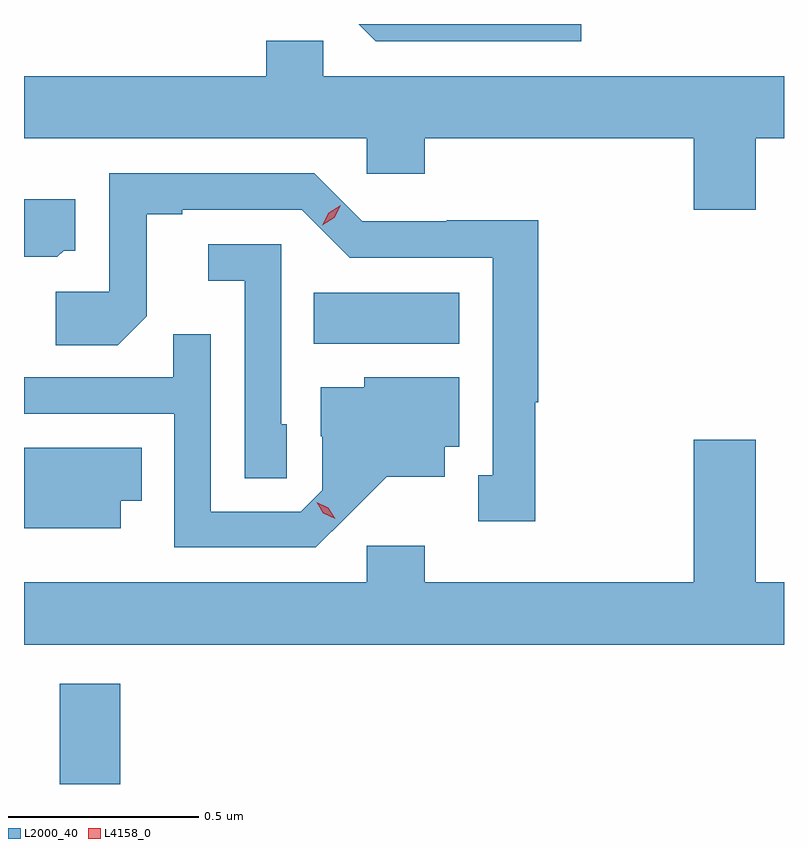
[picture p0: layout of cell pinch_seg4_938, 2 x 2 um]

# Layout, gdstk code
import gdstk
lib = gdstk.Library(unit=1e-6, precision=1e-09)
def R(c, l, rs):  # rectangles x0, y0, x1, y1
    for r in rs: c.add(gdstk.rectangle(r[:2], r[2:], *l))
def P(c, l, *ps):  # polygons
    for p in ps: c.add(gdstk.Polygon(p, *l))
L2000_40 = (2000, 40)
L4158_0 = (4158, 0)

pinch_seg4_938 = lib.new_cell('pinch_seg4_938')
R(pinch_seg4_938, L2000_40, [(690.812,823.093,690.971,823.357), (691.48,824.252,691.864,824.386)])
P(pinch_seg4_938, L2000_40, [(692.184,825.093),(691.599,825.093),(691.644,825.048),(692.184,825.048)],
  [(692.644,824.792),(692.718,824.792),(692.718,824.956),(691.506,824.956),(691.506,825.049),(691.355,825.049),(691.355,824.956),(690.718,824.956),(690.718,824.792),(691.62,824.792),(691.62,824.699),(691.772,824.699),(691.772,824.792),(692.48,824.792),(692.48,824.604),(692.644,824.604)],
  [(692.063,824.097),(692.071,824.097),(692.071,824.576),(691.83,824.576),(691.83,824.574),(691.608,824.574),(691.482,824.7),(690.942,824.7),(690.942,824.388),(690.801,824.388),(690.801,824.248),(690.965,824.248),(691.041,824.324),(691.041,824.592),(691.135,824.592),(691.135,824.604),(691.449,824.604),(691.575,824.478),(691.952,824.478),(691.952,823.905),(691.913,823.905),(691.913,823.785),(692.063,823.785)],
  [(690.822,824.496),(690.853,824.496),(690.853,824.632),(690.718,824.632),(690.718,824.48),(690.806,824.48)],
  [(691.41,824.04),(691.395,824.04),(691.395,824.514),(691.203,824.514),(691.203,824.417),(691.299,824.417),(691.299,823.897),(691.41,823.897)],
  [(691.57,823.799),(691.673,823.901),(691.825,823.901),(691.825,823.98),(691.864,823.98),(691.864,824.164),(691.614,824.164),(691.614,824.137),(691.499,824.137),(691.499,824.008),(691.503,824.008),(691.503,823.866),(691.446,823.809),(691.209,823.809),(691.209,824.276),(691.111,824.276),(691.111,824.163),(690.718,824.163),(690.718,824.067),(691.113,824.067),(691.113,823.716),(691.486,823.716)],
  [(692.718,823.624),(692.644,823.624),(692.644,823.999),(692.48,823.999),(692.48,823.624),(691.772,823.624),(691.772,823.72),(691.62,823.72),(691.62,823.624),(690.718,823.624),(690.718,823.46),(692.718,823.46)],
  [(690.973,823.838),(691.028,823.838),(691.028,823.978),(690.718,823.978),(690.718,823.766),(690.973,823.766)])
P(pinch_seg4_938, L4158_0, [(691.503,824.563),(691.503,824.564),(691.52,824.596),(691.551,824.616),(691.552,824.616),(691.552,824.616),(691.535,824.583),(691.503,824.563)],
  [(691.537,823.791),(691.506,823.805),(691.488,823.834),(691.488,823.834),(691.488,823.834),(691.519,823.82),(691.537,823.791),(691.537,823.791)])

lib.write_gds('pinch_seg4_938.gds')
